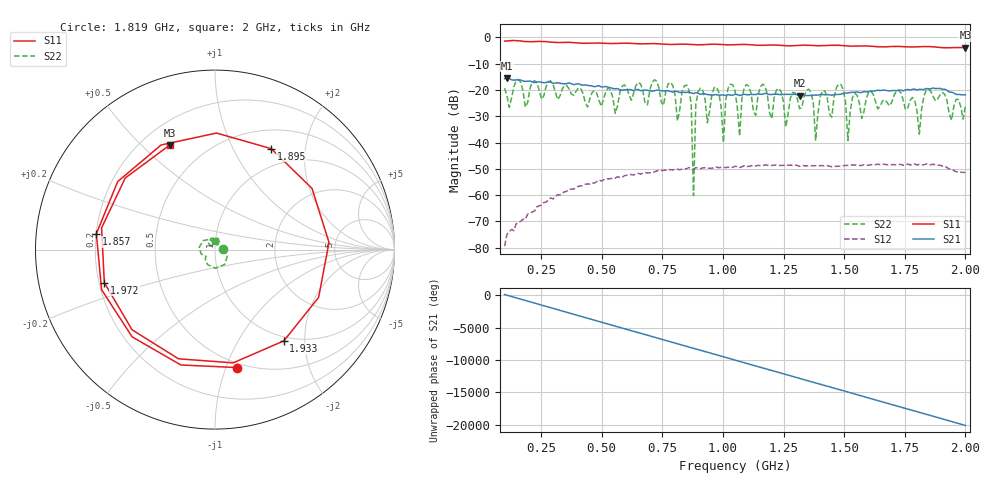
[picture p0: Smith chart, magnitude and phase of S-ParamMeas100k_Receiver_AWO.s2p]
!Keysight Technologies,N5242B,MY48420967,A.15.65.19
!Date: Saturday, February 04, 2023 07:52:59
!Correction: S11(C  1-Port  )
!S21(Off)
!S12(Off)
!S22(Off)
!S2P File: Measurements: S11, S21, S12, S22:
# Hz S  dB  R 50
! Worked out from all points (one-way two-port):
!   201 points, 100 MHz to 2 GHz, reference 50 ohm
!   highest |S21| = -15.46 dB at 109.5 MHz (marker M1); lowest = -22.2 dB at 1.316 GHz (marker M2)
!   lowest |S11| = -3.9 dB at 2 GHz (marker M3), VSWR 4.48, Z = 15.6 + j30.6 ohm
!   |S11| at or under -10 dB: nowhere
!   |S22| runs from -60.2 to -16.0 dB; largest |S21 - S12| = 0.17
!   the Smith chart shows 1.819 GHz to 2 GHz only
!   S11 on the Smith chart (normalised r, x): 1.819 GHz: 0.46, -1.10; 1.857 GHz: 0.20, +0.06; 1.895 GHz: 0.74, +1.43; 1.933 GHz: 0.93, -1.59; 1.972 GHz: 0.22, -0.14; 2 GHz: 0.31, +0.61
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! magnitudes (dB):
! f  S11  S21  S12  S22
! 100 MHz  -1.4  -15.7  -79.5  -19.3
! 109.5 MHz  -1.3  -15.5  -75.0  -22.3
! 423 MHz  -2.2  -18.2  -56.5  -21.3
! 736.5 MHz  -2.4  -20.0  -50.5  -19.3
! 860 MHz  -2.6  -20.7  -49.5  -20.0
! 879 MHz  -2.7  -21.4  -50.1  -60.2
! 888.5 MHz  -2.8  -21.0  -49.6  -25.4
! 898 MHz  -2.8  -21.2  -49.7  -20.7
! 974 MHz  -2.6  -21.7  -49.3  -18.9
! 1.002 GHz  -2.7  -21.9  -49.4  -40.0
! 1.05 GHz  -2.8  -21.6  -49.1  -20.3
! 1.069 GHz  -2.7  -22.1  -49.5  -37.6
! 1.097 GHz  -2.7  -21.8  -49.1  -17.9
! 1.316 GHz  -3.0  -22.2  -49.1  -27.1
! 1.373 GHz  -3.1  -22.0  -48.9  -25.0
! 1.687 GHz  -3.5  -20.4  -48.6  -26.0
! 1.819 GHz  -3.5  -19.8  -48.5  -27.3
! 1.857 GHz  -3.5  -19.6  -48.4  -20.6
! 1.895 GHz  -3.8  -19.4  -48.6  -21.8
! 1.933 GHz  -3.9  -20.8  -50.1  -29.0
! 1.972 GHz  -3.8  -21.7  -51.2  -23.6
! 2 GHz  -3.9  -21.8  -51.4  -26.3
